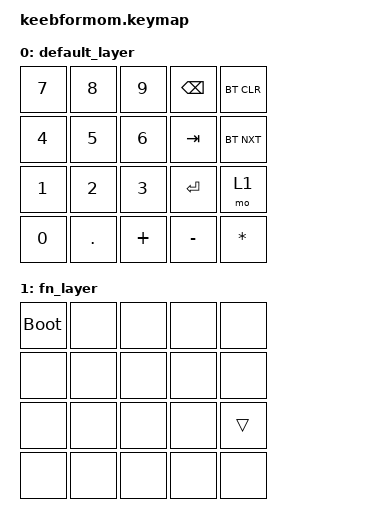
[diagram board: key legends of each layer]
#include <behaviors.dtsi>
#include <dt-bindings/zmk/keys.h>
#include <dt-bindings/zmk/bt.h>

/ {
    keymap {
        compatible = "zmk,keymap";

        default_layer {
            bindings = <
                &kp NUM_7  &kp NUM_8  &kp NUM_9  &kp BSPC   &bt BT_CLR
                &kp NUM_4  &kp NUM_5  &kp NUM_6  &kp TAB    &bt BT_NXT
                &kp NUM_1  &kp NUM_2  &kp NUM_3  &kp RET    &mo 1
                &kp NUM_0  &kp DOT    &kp PLUS   &kp MINUS  &kp ASTERISK
            >;
        };

        fn_layer {
            bindings = <
                &bootloader  &none  &none  &none  &none
                &none        &none  &none  &none  &none
                &none        &none  &none  &none  &trans
                &none        &none  &none  &none  &none
            >;
        };
    };
};
